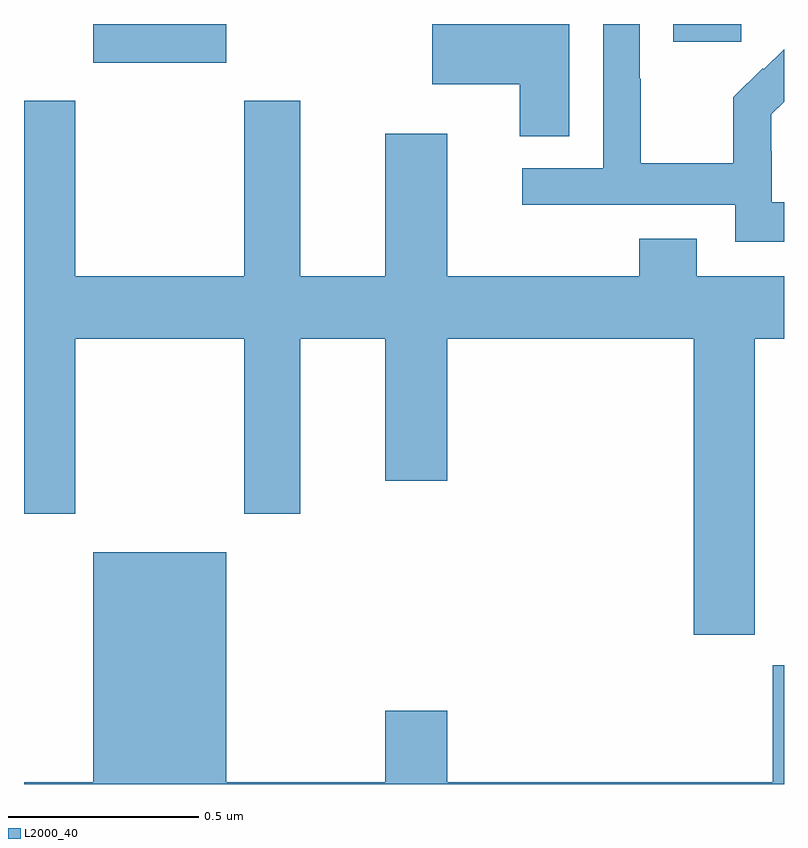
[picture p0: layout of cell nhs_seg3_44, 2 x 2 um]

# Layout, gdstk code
import gdstk
lib = gdstk.Library(unit=1e-6, precision=1e-09)
def R(c, l, rs):  # rectangles x0, y0, x1, y1
    for r in rs: c.add(gdstk.rectangle(r[:2], r[2:], *l))
def P(c, l, *ps):  # polygons
    for p in ps: c.add(gdstk.Polygon(p, *l))
L2000_40 = (2000, 40)

nhs_seg3_44 = lib.new_cell('nhs_seg3_44')
R(nhs_seg3_44, L2000_40, [(111.182,712.298,111.532,712.4), (112.709,712.353,112.888,712.4)])
P(nhs_seg3_44, L2000_40, [(113,711.931),(112.968,711.931),(112.968,712.065),(112.966,712.065),(112.966,712.162),(113,712.196),(113,712.334),(112.947,712.281),(112.944,712.284),(112.867,712.207),(112.867,712.033),(112.623,712.033),(112.623,712.256),(112.62,712.256),(112.62,712.4),(112.524,712.4),(112.524,712.02),(112.311,712.02),(112.311,711.924),(112.872,711.924),(112.872,711.827),(113,711.827)],
  [(112.435,712.4),(112.074,712.4),(112.074,712.241),(112.304,712.241),(112.304,712.105),(112.435,712.105)],
  [(112.923,711.572),(113,711.572),(113,711.736),(112.771,711.736),(112.771,711.835),(112.619,711.835),(112.619,711.736),(112.114,711.736),(112.114,712.111),(111.95,712.111),(111.95,711.736),(111.727,711.736),(111.727,712.198),(111.58,712.198),(111.58,711.736),(111.135,711.736),(111.135,712.198),(111,712.198),(111,711.111),(111.135,711.111),(111.135,711.572),(111.58,711.572),(111.58,711.111),(111.727,711.111),(111.727,711.572),(111.95,711.572),(111.95,711.198),(112.114,711.198),(112.114,711.572),(112.763,711.572),(112.763,710.793),(112.923,710.793)],
  [(113,710.713),(112.97,710.713),(112.97,710.404),(112.114,710.404),(112.114,710.593),(111.95,710.593),(111.95,710.404),(111.532,710.404),(111.532,711.01),(111.182,711.01),(111.182,710.404),(111,710.404),(111,710.4),(113,710.4)])

lib.write_gds('nhs_seg3_44.gds')
